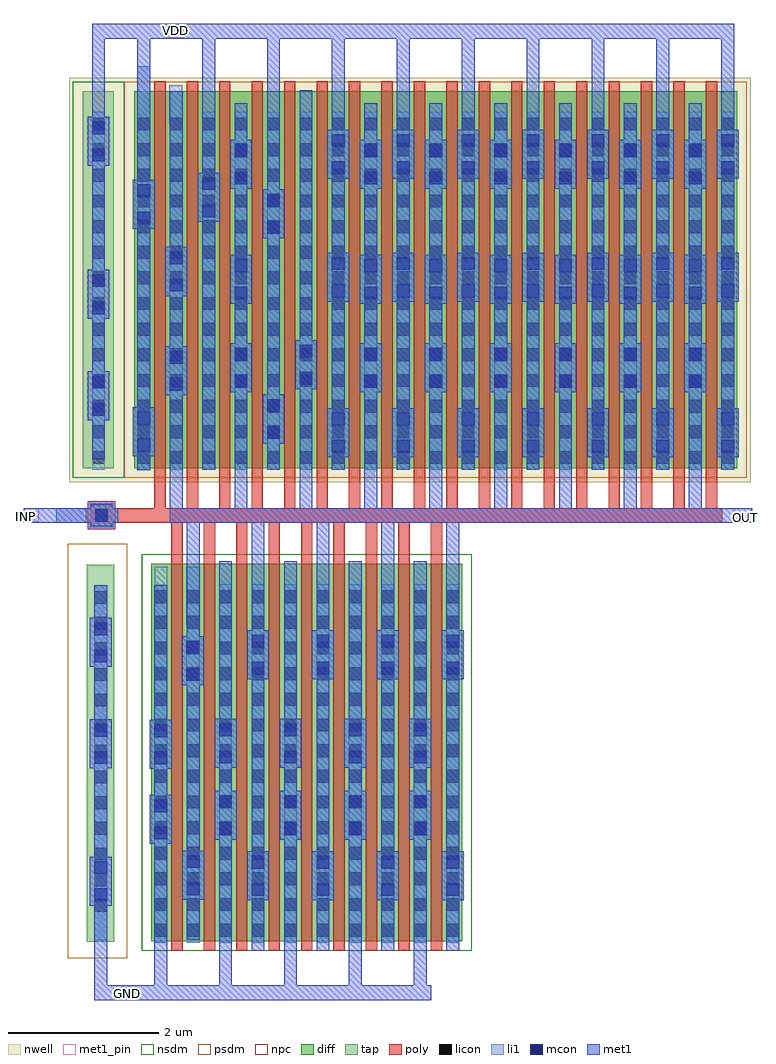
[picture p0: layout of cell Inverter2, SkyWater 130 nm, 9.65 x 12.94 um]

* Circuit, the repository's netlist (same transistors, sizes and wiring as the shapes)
************************************************************************
* auCdl Netlist:
* 
* Library Name:  InverterBasedTransceiver
* Top Cell Name: Inverter2
* View Name:     schematic
* Netlisted on:  Sep  6 15:19:00 2020
************************************************************************

.INCLUDE  $PDK_HOME/LVS/Calibre/source.cdl
*.EQUATION
*.SCALE METER
.PARAM



************************************************************************
* Library Name: InverterBasedTransceiver
* Cell Name:    Inverter2
* View Name:    schematic
************************************************************************

.SUBCKT Inverter2 GND INP OUT VDD
*.PININFO INP:I OUT:O GND:B VDD:B
mMP17 OUT INP VDD VDD pshort m=1 w=5.00 l=0.15 mult=1 sa=0.0 sb=0.0 sd=0.0 
+ topography=normal area=0.063 perim=1.14
mMP16 OUT INP VDD VDD pshort m=1 w=5.00 l=0.15 mult=1 sa=0.0 sb=0.0 sd=0.0 
+ topography=normal area=0.063 perim=1.14
mMP15 OUT INP VDD VDD pshort m=1 w=5.00 l=0.15 mult=1 sa=0.0 sb=0.0 sd=0.0 
+ topography=normal area=0.063 perim=1.14
mMP14 OUT INP VDD VDD pshort m=1 w=5.00 l=0.15 mult=1 sa=0.0 sb=0.0 sd=0.0 
+ topography=normal area=0.063 perim=1.14
mMP13 OUT INP VDD VDD pshort m=1 w=5.00 l=0.15 mult=1 sa=0.0 sb=0.0 sd=0.0 
+ topography=normal area=0.063 perim=1.14
mMP12 OUT INP VDD VDD pshort m=1 w=5.00 l=0.15 mult=1 sa=0.0 sb=0.0 sd=0.0 
+ topography=normal area=0.063 perim=1.14
mMP11 OUT INP VDD VDD pshort m=1 w=5.00 l=0.15 mult=1 sa=0.0 sb=0.0 sd=0.0 
+ topography=normal area=0.063 perim=1.14
mMP10 OUT INP VDD VDD pshort m=1 w=5.00 l=0.15 mult=1 sa=0.0 sb=0.0 sd=0.0 
+ topography=normal area=0.063 perim=1.14
mMP9 OUT INP VDD VDD pshort m=1 w=5.00 l=0.15 mult=1 sa=0.0 sb=0.0 sd=0.0 
+ topography=normal area=0.063 perim=1.14
mMP8 OUT INP VDD VDD pshort m=1 w=5.00 l=0.15 mult=1 sa=0.0 sb=0.0 sd=0.0 
+ topography=normal area=0.063 perim=1.14
mMP7 OUT INP VDD VDD pshort m=1 w=5.00 l=0.15 mult=1 sa=0.0 sb=0.0 sd=0.0 
+ topography=normal area=0.063 perim=1.14
mMP6 OUT INP VDD VDD pshort m=1 w=5.00 l=0.15 mult=1 sa=0.0 sb=0.0 sd=0.0 
+ topography=normal area=0.063 perim=1.14
mMP5 OUT INP VDD VDD pshort m=1 w=5.00 l=0.15 mult=1 sa=0.0 sb=0.0 sd=0.0 
+ topography=normal area=0.063 perim=1.14
mMP4 OUT INP VDD VDD pshort m=1 w=5.00 l=0.15 mult=1 sa=0.0 sb=0.0 sd=0.0 
+ topography=normal area=0.063 perim=1.14
mMP3 OUT INP VDD VDD pshort m=1 w=5.00 l=0.15 mult=1 sa=0.0 sb=0.0 sd=0.0 
+ topography=normal area=0.063 perim=1.14
mMP2 OUT INP VDD VDD pshort m=1 w=5.00 l=0.15 mult=1 sa=0.0 sb=0.0 sd=0.0 
+ topography=normal area=0.063 perim=1.14
mMP1 OUT INP VDD VDD pshort m=1 w=5.00 l=0.15 mult=1 sa=0.0 sb=0.0 sd=0.0 
+ topography=normal area=0.063 perim=1.14
mMP0 OUT INP VDD VDD pshort m=1 w=5.00 l=0.15 mult=1 sa=0.0 sb=0.0 sd=0.0 
+ topography=normal area=0.063 perim=1.14
mMN8 OUT INP GND GND nshort m=1 w=5.00 l=0.15 mult=1 sa=0.0 sb=0.0 sd=0.0 
+ topography=normal area=0.063 perim=1.14
mMN7 OUT INP GND GND nshort m=1 w=5.00 l=0.15 mult=1 sa=0.0 sb=0.0 sd=0.0 
+ topography=normal area=0.063 perim=1.14
mMN6 OUT INP GND GND nshort m=1 w=5.00 l=0.15 mult=1 sa=0.0 sb=0.0 sd=0.0 
+ topography=normal area=0.063 perim=1.14
mMN5 OUT INP GND GND nshort m=1 w=5.00 l=0.15 mult=1 sa=0.0 sb=0.0 sd=0.0 
+ topography=normal area=0.063 perim=1.14
mMN4 OUT INP GND GND nshort m=1 w=5.00 l=0.15 mult=1 sa=0.0 sb=0.0 sd=0.0 
+ topography=normal area=0.063 perim=1.14
mMN3 OUT INP GND GND nshort m=1 w=5.00 l=0.15 mult=1 sa=0.0 sb=0.0 sd=0.0 
+ topography=normal area=0.063 perim=1.14
mMN2 OUT INP GND GND nshort m=1 w=5.00 l=0.15 mult=1 sa=0.0 sb=0.0 sd=0.0 
+ topography=normal area=0.063 perim=1.14
mMN1 OUT INP GND GND nshort m=1 w=5.00 l=0.15 mult=1 sa=0.0 sb=0.0 sd=0.0 
+ topography=normal area=0.063 perim=1.14
mMN0 OUT INP GND GND nshort m=1 w=5.00 l=0.15 mult=1 sa=0.0 sb=0.0 sd=0.0 
+ topography=normal area=0.063 perim=1.14
.ENDS

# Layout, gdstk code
from math import pi, radians
import gdstk
lib = gdstk.Library(unit=1e-6, precision=1e-09)
def R(c, l, rs):  # rectangles x0, y0, x1, y1
    for r in rs: c.add(gdstk.rectangle(r[:2], r[2:], *l))
def A(c, l, x, y, w, h, nx, ny, dx, dy):  # array of equal rectangles
    R(c, l, [(x+i*dx, y+j*dy, x+i*dx+w, y+j*dy+h) for i in range(nx) for j in range(ny)])
nwell = (64, 20)
diff = (65, 20)
tap = (65, 44)
poly = (66, 20)
licon = (66, 44)
li1 = (67, 20)
mcon = (67, 44)
met1_pin = (68, 16)
met1 = (68, 20)
nsdm = (93, 44)
psdm = (94, 20)
npc = (95, 20)

dfl1sd_cdns_599788429302 = lib.new_cell('DFL1sd_CDNS_599788429302')
R(dfl1sd_cdns_599788429302, diff, [(0,0,0.265,5)])
A(dfl1sd_cdns_599788429302, licon, 0.055, 0.06, 0.17, 0.17, 1, 14, 0, 0.34)
R(dfl1sd_cdns_599788429302, li1, [(0.055,-0.02,0.225,4.73)])
R(dfl1sd_cdns_599788429302, nsdm, [(-0.125,-0.125,0.39,5.125)])

dfl1sd2_cdns_59978842930 = lib.new_cell('DFL1sd2_CDNS_599788429303')
R(dfl1sd2_cdns_59978842930, diff, [(0,0,0.28,5)])
A(dfl1sd2_cdns_59978842930, licon, 0.055, 0.06, 0.17, 0.17, 1, 14, 0, 0.34)
R(dfl1sd2_cdns_59978842930, li1, [(0.055,-0.02,0.225,4.73)])
R(dfl1sd2_cdns_59978842930, nsdm, [(-0.125,-0.125,0.405,5.125)])

nfet_symbolic_cdns_59978 = lib.new_cell('nfet_symbolic_CDNS_599788429301')
A(nfet_symbolic_cdns_59978, diff, 0, 0, 0.15, 5, 9, 1, 0.43, 0)
R(nfet_symbolic_cdns_59978, diff, [(-0.25,0,0,5), (3.59,0,3.84,5)])
A(nfet_symbolic_cdns_59978, poly, 0, -0.13, 0.15, 5.26, 9, 1, 0.43, 0)
A(nfet_symbolic_cdns_59978, poly, 0, -0.13, 0.15, 0.13, 9, 2, 0.43, 5.13)
A(nfet_symbolic_cdns_59978, li1, -0.225, -0.02, 0.17, 4.75, 10, 1, 0.43, 0)
A(nfet_symbolic_cdns_59978, nsdm, -0.25, -0.125, 0.4, 5.25, 8, 1, 0.43, 0)
R(nfet_symbolic_cdns_59978, nsdm, [(3.19,-0.125,3.84,5.125)])
nfet_symbolic_cdns_59978.add(gdstk.Reference(dfl1sd_cdns_599788429302, (3.59,0)))
nfet_symbolic_cdns_59978.add(gdstk.Reference(dfl1sd_cdns_599788429302, (0,0), rotation=pi, x_reflection=True))
nfet_symbolic_cdns_59978.add(gdstk.Reference(dfl1sd2_cdns_59978842930, (3.16,0)))
nfet_symbolic_cdns_59978.add(gdstk.Reference(dfl1sd2_cdns_59978842930, (2.73,0)))
nfet_symbolic_cdns_59978.add(gdstk.Reference(dfl1sd2_cdns_59978842930, (2.3,0)))
nfet_symbolic_cdns_59978.add(gdstk.Reference(dfl1sd2_cdns_59978842930, (1.87,0)))
nfet_symbolic_cdns_59978.add(gdstk.Reference(dfl1sd2_cdns_59978842930, (1.44,0)))
nfet_symbolic_cdns_59978.add(gdstk.Reference(dfl1sd2_cdns_59978842930, (1.01,0)))
nfet_symbolic_cdns_59978.add(gdstk.Reference(dfl1sd2_cdns_59978842930, (0.58,0)))
nfet_symbolic_cdns_59978.add(gdstk.Reference(dfl1sd2_cdns_59978842930, (0.15,0)))
nfet_symbolic_cdns_59978.add(gdstk.Label('D', (3.73,2.355), layer=83, texttype=44))
nfet_symbolic_cdns_59978.add(gdstk.Label('S', (3.3,2.355), layer=83, texttype=44))
nfet_symbolic_cdns_59978.add(gdstk.Label('D', (2.87,2.355), layer=83, texttype=44))
nfet_symbolic_cdns_59978.add(gdstk.Label('S', (2.44,2.355), layer=83, texttype=44))
nfet_symbolic_cdns_59978.add(gdstk.Label('D', (2.01,2.355), layer=83, texttype=44))
nfet_symbolic_cdns_59978.add(gdstk.Label('S', (1.58,2.355), layer=83, texttype=44))
nfet_symbolic_cdns_59978.add(gdstk.Label('D', (1.15,2.355), layer=83, texttype=44))
nfet_symbolic_cdns_59978.add(gdstk.Label('S', (0.72,2.355), layer=83, texttype=44))
nfet_symbolic_cdns_59978.add(gdstk.Label('D', (0.29,2.355), layer=83, texttype=44))
nfet_symbolic_cdns_59978.add(gdstk.Label('S', (-0.14,2.355), layer=83, texttype=44))

nfet_cdns_599788429300 = lib.new_cell('nfet_CDNS_599788429300')
nfet_cdns_599788429300.add(gdstk.Reference(nfet_symbolic_cdns_59978, (0,0)))

dfl1sd_cdns_599788429306 = lib.new_cell('DFL1sd_CDNS_599788429306')
R(dfl1sd_cdns_599788429306, nwell, [(-0.18,-0.18,0.445,5.18)])
R(dfl1sd_cdns_599788429306, diff, [(0,0,0.265,5)])
A(dfl1sd_cdns_599788429306, licon, 0.055, 0.06, 0.17, 0.17, 1, 14, 0, 0.34)
R(dfl1sd_cdns_599788429306, li1, [(0.055,-0.02,0.225,4.73)])
R(dfl1sd_cdns_599788429306, psdm, [(-0.125,-0.125,0.39,5.125)])

c_dfl1sd2_cdns_59978842930 = lib.new_cell('DFL1sd2_CDNS_599788429307')
R(c_dfl1sd2_cdns_59978842930, nwell, [(-0.18,-0.18,0.46,5.18)])
R(c_dfl1sd2_cdns_59978842930, diff, [(0,0,0.28,5)])
A(c_dfl1sd2_cdns_59978842930, licon, 0.055, 0.06, 0.17, 0.17, 1, 14, 0, 0.34)
R(c_dfl1sd2_cdns_59978842930, li1, [(0.055,-0.02,0.225,4.73)])
R(c_dfl1sd2_cdns_59978842930, psdm, [(-0.125,-0.125,0.405,5.125)])

pfet_symbolic_cdns_59978 = lib.new_cell('pfet_symbolic_CDNS_599788429305')
R(pfet_symbolic_cdns_59978, nwell, [(-0.445,-0.18,7.905,5.18)])
A(pfet_symbolic_cdns_59978, diff, 0, 0, 0.15, 5, 18, 1, 0.43, 0)
R(pfet_symbolic_cdns_59978, diff, [(-0.25,0,0,5), (7.46,0,7.71,5)])
A(pfet_symbolic_cdns_59978, poly, 0, -0.13, 0.15, 5.26, 18, 1, 0.43, 0)
A(pfet_symbolic_cdns_59978, poly, 0, -0.13, 0.15, 0.13, 18, 2, 0.43, 5.13)
A(pfet_symbolic_cdns_59978, li1, -0.225, -0.02, 0.17, 4.75, 19, 1, 0.43, 0)
A(pfet_symbolic_cdns_59978, psdm, -0.25, -0.125, 0.4, 5.25, 17, 1, 0.43, 0)
R(pfet_symbolic_cdns_59978, psdm, [(7.06,-0.125,7.71,5.125)])
pfet_symbolic_cdns_59978.add(gdstk.Reference(dfl1sd_cdns_599788429306, (7.46,0)))
pfet_symbolic_cdns_59978.add(gdstk.Reference(dfl1sd_cdns_599788429306, (0,0), rotation=pi, x_reflection=True))
pfet_symbolic_cdns_59978.add(gdstk.Reference(c_dfl1sd2_cdns_59978842930, (7.03,0)))
pfet_symbolic_cdns_59978.add(gdstk.Reference(c_dfl1sd2_cdns_59978842930, (6.6,0)))
pfet_symbolic_cdns_59978.add(gdstk.Reference(c_dfl1sd2_cdns_59978842930, (6.17,0)))
pfet_symbolic_cdns_59978.add(gdstk.Reference(c_dfl1sd2_cdns_59978842930, (5.74,0)))
pfet_symbolic_cdns_59978.add(gdstk.Reference(c_dfl1sd2_cdns_59978842930, (5.31,0)))
pfet_symbolic_cdns_59978.add(gdstk.Reference(c_dfl1sd2_cdns_59978842930, (4.88,0)))
pfet_symbolic_cdns_59978.add(gdstk.Reference(c_dfl1sd2_cdns_59978842930, (4.45,0)))
pfet_symbolic_cdns_59978.add(gdstk.Reference(c_dfl1sd2_cdns_59978842930, (4.02,0)))
pfet_symbolic_cdns_59978.add(gdstk.Reference(c_dfl1sd2_cdns_59978842930, (3.59,0)))
pfet_symbolic_cdns_59978.add(gdstk.Reference(c_dfl1sd2_cdns_59978842930, (3.16,0)))
pfet_symbolic_cdns_59978.add(gdstk.Reference(c_dfl1sd2_cdns_59978842930, (2.73,0)))
pfet_symbolic_cdns_59978.add(gdstk.Reference(c_dfl1sd2_cdns_59978842930, (2.3,0)))
pfet_symbolic_cdns_59978.add(gdstk.Reference(c_dfl1sd2_cdns_59978842930, (1.87,0)))
pfet_symbolic_cdns_59978.add(gdstk.Reference(c_dfl1sd2_cdns_59978842930, (1.44,0)))
pfet_symbolic_cdns_59978.add(gdstk.Reference(c_dfl1sd2_cdns_59978842930, (1.01,0)))
pfet_symbolic_cdns_59978.add(gdstk.Reference(c_dfl1sd2_cdns_59978842930, (0.58,0)))
pfet_symbolic_cdns_59978.add(gdstk.Reference(c_dfl1sd2_cdns_59978842930, (0.15,0)))
pfet_symbolic_cdns_59978.add(gdstk.Label('S', (7.6,2.355), layer=83, texttype=44))
pfet_symbolic_cdns_59978.add(gdstk.Label('D', (7.17,2.355), layer=83, texttype=44))
pfet_symbolic_cdns_59978.add(gdstk.Label('S', (6.74,2.355), layer=83, texttype=44))
pfet_symbolic_cdns_59978.add(gdstk.Label('D', (6.31,2.355), layer=83, texttype=44))
pfet_symbolic_cdns_59978.add(gdstk.Label('S', (5.88,2.355), layer=83, texttype=44))
pfet_symbolic_cdns_59978.add(gdstk.Label('D', (5.45,2.355), layer=83, texttype=44))
pfet_symbolic_cdns_59978.add(gdstk.Label('S', (5.02,2.355), layer=83, texttype=44))
pfet_symbolic_cdns_59978.add(gdstk.Label('D', (4.59,2.355), layer=83, texttype=44))
pfet_symbolic_cdns_59978.add(gdstk.Label('S', (4.16,2.355), layer=83, texttype=44))
pfet_symbolic_cdns_59978.add(gdstk.Label('D', (3.73,2.355), layer=83, texttype=44))
pfet_symbolic_cdns_59978.add(gdstk.Label('S', (3.3,2.355), layer=83, texttype=44))
pfet_symbolic_cdns_59978.add(gdstk.Label('D', (2.87,2.355), layer=83, texttype=44))
pfet_symbolic_cdns_59978.add(gdstk.Label('S', (2.44,2.355), layer=83, texttype=44))
pfet_symbolic_cdns_59978.add(gdstk.Label('D', (2.01,2.355), layer=83, texttype=44))
pfet_symbolic_cdns_59978.add(gdstk.Label('S', (1.58,2.355), layer=83, texttype=44))
pfet_symbolic_cdns_59978.add(gdstk.Label('D', (1.15,2.355), layer=83, texttype=44))
pfet_symbolic_cdns_59978.add(gdstk.Label('S', (0.72,2.355), layer=83, texttype=44))
pfet_symbolic_cdns_59978.add(gdstk.Label('D', (0.29,2.355), layer=83, texttype=44))
pfet_symbolic_cdns_59978.add(gdstk.Label('S', (-0.14,2.355), layer=83, texttype=44))

pfet_cdns_599788429304 = lib.new_cell('pfet_CDNS_599788429304')
R(pfet_cdns_599788429304, nwell, [(-1.125,-0.18,-0.445,5.18)])
R(pfet_cdns_599788429304, tap, [(-0.945,0,-0.535,5)])
A(pfet_cdns_599788429304, licon, -0.825, 0.06, 0.17, 0.17, 1, 14, 0, 0.34)
R(pfet_cdns_599788429304, li1, [(-0.825,-0.02,-0.655,4.73)])
R(pfet_cdns_599788429304, nsdm, [(-1.08,-0.125,-0.4,5.125)])
R(pfet_cdns_599788429304, psdm, [(-0.4,-0.125,-0.39,5.125)])
pfet_cdns_599788429304.add(gdstk.Reference(pfet_symbolic_cdns_59978, (0,0)))

l1m1_c_cdns_599788429300 = lib.new_cell('L1M1_C_CDNS_599788429300')
R(l1m1_c_cdns_599788429300, li1, [(-0.085,-0.265,0.085,0.265)])
R(l1m1_c_cdns_599788429300, mcon, [(-0.085,-0.265,0.085,-0.095), (-0.085,0.095,0.085,0.265)])
R(l1m1_c_cdns_599788429300, met1, [(-0.145,-0.325,0.145,0.325)])

l1m1_c_cdns_599788429301 = lib.new_cell('L1M1_C_CDNS_599788429301')
R(l1m1_c_cdns_599788429301, li1, [(-0.085,-0.085,0.085,0.085)])
R(l1m1_c_cdns_599788429301, mcon, [(-0.085,-0.085,0.085,0.085)])
R(l1m1_c_cdns_599788429301, met1, [(-0.145,-0.145,0.145,0.145)])

pyl1_c_cdns_599788429302 = lib.new_cell('PYL1_C_CDNS_599788429302')
R(pyl1_c_cdns_599788429302, poly, [(-0.165,-0.165,0.165,0.165)])
R(pyl1_c_cdns_599788429302, licon, [(-0.085,-0.085,0.085,0.085)])
R(pyl1_c_cdns_599788429302, li1, [(-0.165,-0.165,0.165,0.165)])
R(pyl1_c_cdns_599788429302, npc, [(-0.185,-0.185,0.185,0.185)])

inverter2 = lib.new_cell('Inverter2')
R(inverter2, tap, [(1.09,1.12,1.455,6.12)])
A(inverter2, poly, 2.21, 6.26, 0.15, 0.61, 9, 1, 0.43, 0)
A(inverter2, poly, 2.415, 6.87, 0.15, 0.395, 17, 1, 0.43, 0)
R(inverter2, poly, [(1.075,6.675,9.51,6.87), (1.985,6.675,2.135,7.265), (2.415,6.675,2.565,7.265)])
A(inverter2, licon, 1.19, 1.52, 0.17, 0.17, 1, 13, 0, 0.34)
R(inverter2, li1, [(1.19,1.145,1.36,5.85), (1.99,5.325,2.16,6.09), (2.41,5.325,2.58,6.09), (2.415,5.86,2.585,6.09), (0.685,6.675,1.505,6.87), (1.76,11.96,1.93,12.725), (2.185,11.96,2.355,12.47)])
R(inverter2, met1_pin, [(1.555,0.365,1.72,0.525), (9.67,6.675,9.905,6.865), (0.26,6.69,0.455,6.865), (2.15,13.105,2.375,13.28)])
A(inverter2, met1, 2.845, 0.35, 0.17, 5.815, 4, 1, 0.86, 0)
A(inverter2, met1, 3.275, 1, 0.17, 5.87, 4, 1, 0.86, 0)
A(inverter2, met1, 4.77, 6.675, 0.17, 5.56, 6, 1, 0.86, 0)
A(inverter2, met1, 2.62, 7.375, 0.17, 5.91, 9, 1, 0.86, 0)
R(inverter2, met1, [(1.19,0.35,1.36,5.85), (1.19,0.35,5.655,0.545), (1.985,0.35,2.16,5.85), (2.415,1.15,2.585,6.87), (0.255,6.675,1.505,6.87), (2.19,6.675,2.36,12.395), (2.19,6.675,9.91,6.87), (3.05,6.675,3.22,12.235), (3.91,6.87,4.08,12.405), (1.76,7.37,1.93,13.285), (1.16,7.515,1.33,13.285), (1.16,13.09,9.67,13.285)])
R(inverter2, psdm, [(0.835,0.905,1.625,6.4)])
inverter2.add(gdstk.Reference(nfet_cdns_599788429300, (2.21,1.13)))
inverter2.add(gdstk.Reference(pfet_cdns_599788429304, (1.985,7.395)))
inverter2.add(gdstk.Reference(l1m1_c_cdns_599788429300, (9.155,11.425)))
inverter2.add(gdstk.Reference(l1m1_c_cdns_599788429300, (9.155,8.73)))
inverter2.add(gdstk.Reference(l1m1_c_cdns_599788429300, (9.155,9.9)))
inverter2.add(gdstk.Reference(l1m1_c_cdns_599788429300, (8.295,11.425)))
inverter2.add(gdstk.Reference(l1m1_c_cdns_599788429300, (8.295,8.73)))
inverter2.add(gdstk.Reference(l1m1_c_cdns_599788429300, (8.295,9.9)))
inverter2.add(gdstk.Reference(l1m1_c_cdns_599788429300, (7.435,11.425)))
inverter2.add(gdstk.Reference(l1m1_c_cdns_599788429300, (7.435,8.73)))
inverter2.add(gdstk.Reference(l1m1_c_cdns_599788429300, (7.435,9.9)))
inverter2.add(gdstk.Reference(l1m1_c_cdns_599788429300, (6.575,11.425)))
inverter2.add(gdstk.Reference(l1m1_c_cdns_599788429300, (6.575,8.73)))
inverter2.add(gdstk.Reference(l1m1_c_cdns_599788429300, (6.575,9.9)))
inverter2.add(gdstk.Reference(l1m1_c_cdns_599788429300, (5.715,11.425)))
inverter2.add(gdstk.Reference(l1m1_c_cdns_599788429300, (5.715,8.73)))
inverter2.add(gdstk.Reference(l1m1_c_cdns_599788429300, (5.715,9.9)))
inverter2.add(gdstk.Reference(l1m1_c_cdns_599788429300, (4.855,11.425)))
inverter2.add(gdstk.Reference(l1m1_c_cdns_599788429300, (4.855,8.73)))
inverter2.add(gdstk.Reference(l1m1_c_cdns_599788429300, (4.855,9.9)))
inverter2.add(gdstk.Reference(l1m1_c_cdns_599788429300, (9.585,11.56)))
inverter2.add(gdstk.Reference(l1m1_c_cdns_599788429300, (9.585,7.87)))
inverter2.add(gdstk.Reference(l1m1_c_cdns_599788429300, (9.585,9.93)))
inverter2.add(gdstk.Reference(l1m1_c_cdns_599788429300, (8.725,11.56)))
inverter2.add(gdstk.Reference(l1m1_c_cdns_599788429300, (8.725,7.87)))
inverter2.add(gdstk.Reference(l1m1_c_cdns_599788429300, (8.725,9.93)))
inverter2.add(gdstk.Reference(l1m1_c_cdns_599788429300, (7.865,11.56)))
inverter2.add(gdstk.Reference(l1m1_c_cdns_599788429300, (7.865,7.87)))
inverter2.add(gdstk.Reference(l1m1_c_cdns_599788429300, (7.865,9.93)))
inverter2.add(gdstk.Reference(l1m1_c_cdns_599788429300, (7.005,11.56)))
inverter2.add(gdstk.Reference(l1m1_c_cdns_599788429300, (7.005,7.87)))
inverter2.add(gdstk.Reference(l1m1_c_cdns_599788429300, (7.005,9.93)))
inverter2.add(gdstk.Reference(l1m1_c_cdns_599788429300, (6.145,11.56)))
inverter2.add(gdstk.Reference(l1m1_c_cdns_599788429300, (6.145,7.87)))
inverter2.add(gdstk.Reference(l1m1_c_cdns_599788429300, (6.145,9.93)))
inverter2.add(gdstk.Reference(l1m1_c_cdns_599788429300, (5.285,11.56)))
inverter2.add(gdstk.Reference(l1m1_c_cdns_599788429300, (5.285,7.87)))
inverter2.add(gdstk.Reference(l1m1_c_cdns_599788429300, (5.285,9.93)))
inverter2.add(gdstk.Reference(l1m1_c_cdns_599788429300, (3.79,3.75)))
inverter2.add(gdstk.Reference(l1m1_c_cdns_599788429300, (3.79,2.8)))
inverter2.add(gdstk.Reference(l1m1_c_cdns_599788429300, (4.65,3.75)))
inverter2.add(gdstk.Reference(l1m1_c_cdns_599788429300, (4.65,2.8)))
inverter2.add(gdstk.Reference(l1m1_c_cdns_599788429300, (5.51,3.75)))
inverter2.add(gdstk.Reference(l1m1_c_cdns_599788429300, (5.51,2.8)))
inverter2.add(gdstk.Reference(l1m1_c_cdns_599788429300, (5.94,4.925)))
inverter2.add(gdstk.Reference(l1m1_c_cdns_599788429300, (5.94,1.995)))
inverter2.add(gdstk.Reference(l1m1_c_cdns_599788429300, (5.08,1.995)))
inverter2.add(gdstk.Reference(l1m1_c_cdns_599788429300, (5.08,4.925)))
inverter2.add(gdstk.Reference(l1m1_c_cdns_599788429300, (4.22,1.995)))
inverter2.add(gdstk.Reference(l1m1_c_cdns_599788429300, (4.22,4.925)))
inverter2.add(gdstk.Reference(l1m1_c_cdns_599788429300, (2.705,10.99)))
inverter2.add(gdstk.Reference(l1m1_c_cdns_599788429300, (2.5,2.005)))
inverter2.add(gdstk.Reference(l1m1_c_cdns_599788429300, (2.495,4.845)))
inverter2.add(gdstk.Reference(l1m1_c_cdns_599788429300, (2.275,8.69)))
inverter2.add(gdstk.Reference(l1m1_c_cdns_599788429300, (2.275,10.005)))
inverter2.add(gdstk.Reference(l1m1_c_cdns_599788429300, (2.07,2.745)))
inverter2.add(gdstk.Reference(l1m1_c_cdns_599788429300, (2.07,3.74)))
inverter2.add(gdstk.Reference(l1m1_c_cdns_599788429300, (1.845,7.88)))
inverter2.add(gdstk.Reference(l1m1_c_cdns_599788429300, (1.845,10.895)))
inverter2.add(gdstk.Reference(l1m1_c_cdns_599788429300, (1.275,1.925)))
inverter2.add(gdstk.Reference(l1m1_c_cdns_599788429300, (1.275,3.745)))
inverter2.add(gdstk.Reference(l1m1_c_cdns_599788429300, (1.275,5.09)))
inverter2.add(gdstk.Reference(l1m1_c_cdns_599788429300, (1.245,11.73)))
inverter2.add(gdstk.Reference(l1m1_c_cdns_599788429300, (1.245,9.705)))
inverter2.add(gdstk.Reference(l1m1_c_cdns_599788429300, (1.245,8.36)))
inverter2.add(gdstk.Reference(l1m1_c_cdns_599788429300, (4.425,11.56)))
inverter2.add(gdstk.Reference(l1m1_c_cdns_599788429300, (4.425,7.87)))
inverter2.add(gdstk.Reference(l1m1_c_cdns_599788429300, (4.425,9.93)))
inverter2.add(gdstk.Reference(l1m1_c_cdns_599788429300, (3.995,8.77)))
inverter2.add(gdstk.Reference(l1m1_c_cdns_599788429300, (3.565,8.05)))
inverter2.add(gdstk.Reference(l1m1_c_cdns_599788429300, (3.565,10.77)))
inverter2.add(gdstk.Reference(l1m1_c_cdns_599788429300, (3.135,11.425)))
inverter2.add(gdstk.Reference(l1m1_c_cdns_599788429300, (3.135,8.73)))
inverter2.add(gdstk.Reference(l1m1_c_cdns_599788429300, (3.135,9.9)))
inverter2.add(gdstk.Reference(l1m1_c_cdns_599788429300, (3.36,1.995)))
inverter2.add(gdstk.Reference(l1m1_c_cdns_599788429300, (3.36,4.925)))
inverter2.add(gdstk.Reference(l1m1_c_cdns_599788429300, (2.93,3.75)))
inverter2.add(gdstk.Reference(l1m1_c_cdns_599788429300, (2.93,2.8)))
inverter2.add(gdstk.Reference(l1m1_c_cdns_599788429301, (1.285,6.775)))
inverter2.add(gdstk.Reference(pyl1_c_cdns_599788429302, (1.285,6.775)))
inverter2.add(gdstk.Label('OUT', (9.815,6.745), layer=68, texttype=20))
inverter2.add(gdstk.Label('VDD', (2.265,13.2), layer=68, texttype=20))
inverter2.add(gdstk.Label('GND', (1.63,0.43), layer=68, texttype=20))
inverter2.add(gdstk.Label('INP', (0.28,6.76), layer=68, texttype=20))

lib.write_gds('Inverter2.gds')
